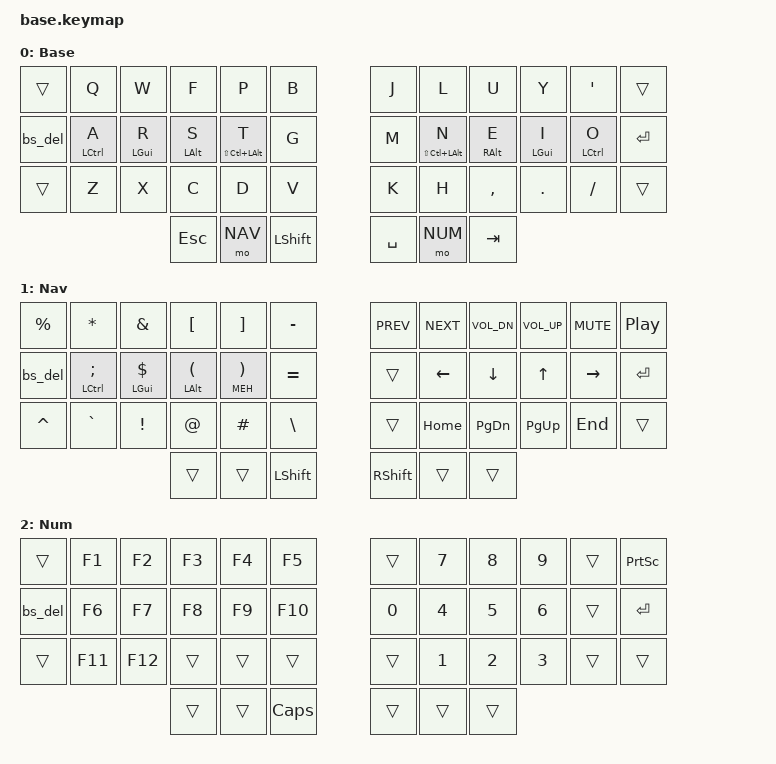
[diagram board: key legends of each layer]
#include "zmk-helpers/key-labels/42.h"
#include <behaviors.dtsi>
#include <behaviors/num_word.dtsi> // Requires auto-layer module.
#include <dt-bindings/zmk/keys.h>
#include "zmk-helpers/helper.h"

#define DEF  0
#define NAV  1
#define NUM  2

#define XXX &none
#define ___ &trans

/* Global defaults */

#define QUICK_TAP_MS 150

&sk {
  release-after-ms = <900>;
  quick-release;
};

&sl { // Allow sticky mods to chord across sticky layers.
  ignore-modifiers;
};

&lt {
  flavor = "balanced";
  tapping-term-ms = <200>;
  quick-tap-ms = <QUICK_TAP_MS>;
};

/* Homerow mods */

#define KEYS_L LT0 LT1 LT2 LT3 LT4 LT5 LM0 LM1 LM2 LM3 LM4 LM5 LB0 LB1 LB2 LB3 LB4 LB5
#define KEYS_R RT0 RT1 RT2 RT3 RT4 RT5 RM0 RM1 RM2 RM3 RM4 RM5 RB0 RB1 RB2 RB3 RB4 RB5
#define THUMBS LH2 LH1 LH0 RH0 RH1 RH2 // Thumbs on 36+ keys.

#define MAKE_HRM(NAME, HOLD, TAP, TRIGGER_POS)                                 \
  ZMK_HOLD_TAP(NAME, bindings = <HOLD>, <TAP>; flavor = "balanced";            \
               tapping-term-ms = <250>; quick-tap-ms = <QUICK_TAP_MS>;         \
               require-prior-idle-ms = <150>; hold-trigger-on-release;         \
               hold-trigger-key-positions = <TRIGGER_POS>;)

MAKE_HRM(hml, &kp, &kp, KEYS_R THUMBS) // Left-hand HRMs.
MAKE_HRM(hmr, &kp, &kp, KEYS_L THUMBS) // Right-hand HRMs.

// Hack: Make HRM combos tap-only (cf, ZMK issue #544).
#define ZMK_COMBO_8(NAME, TAP, POS, LAYERS, COMBO_MS, IDLE_MS, HOLD, SIDE)     \
  MAKE_HRM(hm_combo_##NAME, &kp, TAP, SIDE THUMBS)                             \
  ZMK_COMBO_6(NAME, &hm_combo_##NAME HOLD 0, POS, LAYERS, COMBO_MS, IDLE_MS)

/* Nav cluster */

// Trigger tap-action on all interrupts.
#define MT_CORE                                                                \
  flavor = "tap-preferred";                                                    \
  tapping-term-ms = <220>;                                                     \
  quick-tap-ms = <220>;                                                        \
  hold-trigger-key-positions = <0>;

&mt { MT_CORE };

ZMK_HOLD_TAP(mt_home, bindings = <&masked_home>, <&kp>; MT_CORE)
ZMK_HOLD_TAP(mt_end, bindings = <&masked_end>, <&kp>; MT_CORE)

#define NAV_LEFT  &mt_home 0   LEFT  // Tap: left  | Long-tap: start of line.
#define NAV_RIGHT &mt_end 0    RIGHT // Tap: right | Long-tap: end   of line.
#define NAV_UP    &mt LC(HOME) UP    // Tap: up    | Long-tap: start of doc.
#define NAV_DOWN  &mt LC(END)  DOWN  // Tap: down  | Long-tap: end   of doc.
#define NAV_BSPC  &mt LC(BSPC) BSPC  // Tap: bspc  | Long-tap: delete word bwd.
#define NAV_DEL   &mt LC(DEL)  DEL   // Tap: del   | Long-tap: delete word fwd.

// Mask CTRL on left/right hold to avoid accidental jumps to start/end of doc.
#define MASK_MODS(NAME, MODS, BINDING)                                         \
  ZMK_MOD_MORPH(NAME, bindings = <BINDING>, <BINDING>; mods = <MODS>;)

MASK_MODS(masked_home, (MOD_LCTL), &kp HOME)
MASK_MODS(masked_end,  (MOD_LCTL), &kp END)

/* Magic-shift & auto-layers */

// Tap: repeat after alpha, else sticky-shift |
ZMK_ADAPTIVE_KEY(
    shift_repeat, bindings = <&sk LSHFT>;
    repeat {
      trigger-keys = <A B C D E F G H I J K L M N O P Q R S T U V W X Y Z>;
      bindings = <&key_repeat>;
      max-prior-idle-ms = <1200>;
      strict-modifiers;
    };)
&caps_word { // Mods deactivate caps-word, requires PR #1451. [TODO: rebase]
  /delete-property/ ignore-modifiers;
};

// Tap: num-word | double-tap: sticky num-layer | Hold: num-layer.
#define SMART_NUM &smart_num NUM 0
ZMK_HOLD_TAP(smart_num, bindings = <&mo>, <&num_dance>; flavor = "balanced";
             tapping-term-ms = <200>; quick-tap-ms = <QUICK_TAP_MS>;)
ZMK_TAP_DANCE(num_dance, bindings = <&num_word NUM>, <&sl NUM>;
              tapping-term-ms = <200>;)

// Tap: backspace | Lshft + tap: delete | Rshft + tap: shift-delete.
ZMK_MOD_MORPH(bs_del, bindings = <&kp BSPC>, <&kp DEL>;
              mods = <(MOD_LSFT|MOD_RSFT)>; keep-mods = <MOD_RSFT>;)


// Misc aliases. [TODO: clean up]
#define CANCEL    &kp K_CANCEL            // Cancel caps-word & auto-layers.
#define DSK_PREV  &hmr LCTRL LG(LC(LEFT)) // Previous desktop.  what is this. how well does it actuallz
#define DSK_NEXT  &hmr LALT LG(LC(RIGHT)) // Next     desktop.
#define PIN_WIN   &kp LG(LC(LS(Q)))       // Pin window across desktops.
#define PIN_APP   &kp LG(LC(LS(A)))       // Pin application across desktops.
#define DSK_MGR   &kp LA(GRAVE)           // Desktop manager.
#define VOL_DOWN  &hmr RSHFT C_VOL_DN

#define MEH LS(LC(LALT))

#define SPC_SHFT      &mt  RSHFT SPACE
#define LCTRL_SEMCOL  &hml LCTRL SEMICOLON
#define LGUI_DOL      &hml LGUI  DOLLAR
#define LALT_PAR      &hml LALT  LPAR
#define MEH_PAR       &hml MEH   RPAR
/* Keymap */


ZMK_LAYER(Base,
//╭─────────────┬─────────────┬─────────────┬─────────────┬─────────────┬─────────────╮ ╭─────────────┬─────────────┬─────────────┬─────────────┬─────────────┬─────────────╮
    ___          &kp Q         &kp W         &kp F         &kp P         &kp B           &kp J         &kp L         &kp U         &kp Y         &kp SQT        ___
//├─────────────┼─────────────┼─────────────┼─────────────┼─────────────┼─────────────┤ ├─────────────┼─────────────┼─────────────┼─────────────┼─────────────┼─────────────┤
   &bs_del       &hml LCTRL A  &hml LGUI R   &hml LALT S   &hml MEH T    &kp G           &kp M         &hmr MEH N    &hmr RALT E   &hmr LGUI I   &hmr LCTRL O  &kp RET
//├─────────────┼─────────────┼─────────────┼─────────────┼─────────────┼─────────────┤ ├─────────────┼─────────────┼─────────────┼─────────────┼─────────────┼─────────────┤
    ___          &kp Z         &kp X         &kp C         &kp D         &kp V           &kp K         &kp H         &kp COMMA     &kp DOT       &kp SLASH      ___
//╰─────────────┼─────────────┴─────────────┼─────────────┼─────────────┼─────────────┤ ├─────────────┼─────────────┼─────────────┼─────────────┴───────────────────────────╯
                                             &kp ESC       &mo NAV       &kp LSHFT       &kp SPACE     &mo NUM       &kp TAB
//                                          ╰─────────────┴─────────────┴─────────────╯ ╰─────────────┴─────────────┴─────────────╯
)

ZMK_LAYER(Nav,
//╭─────────────┬─────────────┬─────────────┬─────────────┬─────────────┬─────────────╮ ╭─────────────┬─────────────┬─────────────┬─────────────┬─────────────┬─────────────╮
   &kp PERCENT   &kp STAR      &kp AMPERSAND &kp LBKT      &kp RBKT      &kp MINUS       &kp C_PREV    &kp C_NEXT    &kp C_VOL_DN  &kp C_VOL_UP  &kp C_MUTE    &kp C_PP
//├─────────────┼─────────────┼─────────────┼─────────────┼─────────────┼─────────────┤ ├─────────────┼─────────────┼─────────────┼─────────────┼─────────────┼─────────────┤
   &bs_del       LCTRL_SEMCOL  LGUI_DOL      LALT_PAR      MEH_PAR       &kp EQUAL        ___          &kp LEFT      &kp DOWN      &kp UP        &kp RIGHT     &kp ENTER
//├─────────────┼─────────────┼─────────────┼─────────────┼─────────────┼─────────────┤ ├─────────────┼─────────────┼─────────────┼─────────────┼─────────────┼─────────────┤
   &kp CARET     &kp GRAVE     &kp EXCL      &kp AT        &kp HASH      &kp BACKSLASH    ___          &kp HOME      &kp PAGE_DOWN &kp PAGE_UP   &kp END        ___
//╰─────────────┼─────────────┴─────────────┼─────────────┼─────────────┼─────────────┤ ├─────────────┼─────────────┼─────────────┼─────────────┴───────────────────────────╯
                                              ___           ___          &kp LSHFT       &kp RSHFT      ___           ___
//                                          ╰─────────────┴─────────────┴─────────────╯ ╰─────────────┴─────────────┴─────────────╯
)

ZMK_LAYER(Num,
//╭─────────────┬─────────────┬─────────────┬─────────────┬─────────────┬─────────────╮ ╭─────────────┬─────────────┬─────────────┬─────────────┬─────────────┬─────────────╮
    ___          &kp F1        &kp F2        &kp F3        &kp F4        &kp F5           ___          &kp N7        &kp N8        &kp N9         ___          &kp PSCRN
//├─────────────┼─────────────┼─────────────┼─────────────┼─────────────┼─────────────┤ ├─────────────┼─────────────┼─────────────┼─────────────┼─────────────┼─────────────┤
   &bs_del       &kp F6        &kp F7        &kp F8        &kp F9        &kp F10         &kp N0        &kp N4        &kp N5        &kp N6         ___          &kp ENTER
//├─────────────┼─────────────┼─────────────┼─────────────┼─────────────┼─────────────┤ ├─────────────┼─────────────┼─────────────┼─────────────┼─────────────┼─────────────┤
    ___          &kp F11       &kp F12        ___           ___           ___             ___          &kp N1        &kp N2        &kp N3         ___           ___
//╰─────────────┼─────────────┴─────────────┼─────────────┼─────────────┼─────────────┤ ├─────────────┼─────────────┼─────────────┼─────────────┴───────────────────────────╯
                                              ___           ___          &kp CAPSLOCK     ___           ___           ___
//                                          ╰─────────────┴─────────────┴─────────────╯ ╰─────────────┴─────────────┴─────────────╯
)
